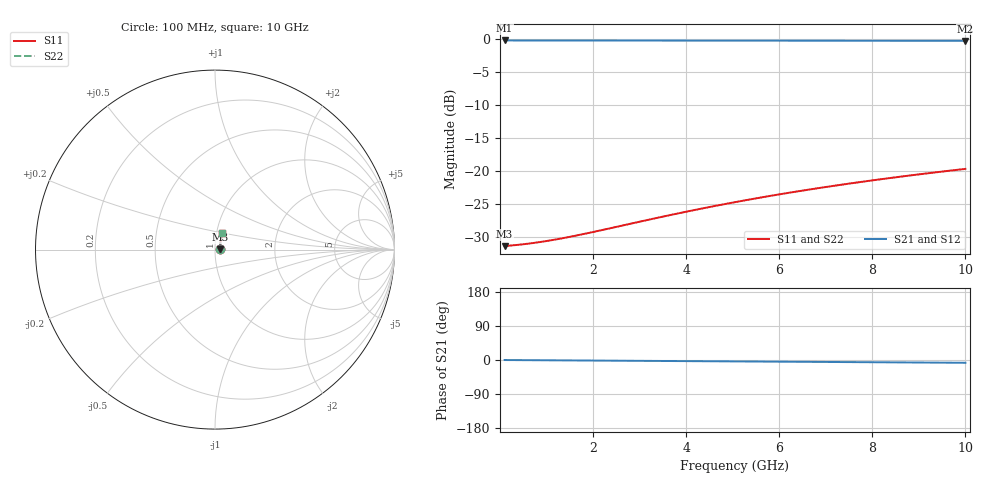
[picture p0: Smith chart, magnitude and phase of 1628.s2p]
# Hz S RI R 50.00
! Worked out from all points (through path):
!   100 points, 100 MHz to 10 GHz, reference 50 ohm
!   highest |S21| = -0.24 dB at 100 MHz (marker M1); lowest = -0.3 dB at 10 GHz (marker M2)
!   group delay of S21, straight-line fit = 2.04 ps
!   lowest |S11| = -31.5 dB at 100 MHz (marker M3), VSWR 1.05, Z = 52.7 + j0.102 ohm
!   |S11| at or under -10 dB: start of sweep to end of sweep
!   |S22| runs from -31.5 to -19.7 dB; largest |S21 - S12| = 0
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1e8  0.0267 0.000963  0.9733 -0.00125  0.9733 -0.00125  0.0267 0.000963
5e8  0.0272 0.00481  0.9728 -0.00627  0.9728 -0.00627  0.0272 0.00481
7e8  0.0274 0.00673  0.9726 -0.00877  0.9726 -0.00877  0.0274 0.00673
9e8  0.0275 0.00865  0.9725 -0.0113  0.9725 -0.0113  0.0275 0.00865
1.1e9  0.0277 0.0106  0.9723 -0.0138  0.9723 -0.0138  0.0277 0.0106
1.3e9  0.0278 0.0125  0.9722 -0.0163  0.9722 -0.0163  0.0278 0.0125
1.5e9  0.028 0.0144  0.972 -0.0188  0.972 -0.0188  0.028 0.0144
1.8e9  0.0282 0.0173  0.9718 -0.0225  0.9718 -0.0225  0.0282 0.0173
2.2e9  0.0285 0.0211  0.9715 -0.0275  0.9715 -0.0275  0.0285 0.0211
3.4e9  0.0296 0.0326  0.9704 -0.0425  0.9704 -0.0425  0.0296 0.0326
3.9e9  0.0301 0.0373  0.9698 -0.0487  0.9698 -0.0487  0.0301 0.0373
4.3e9  0.0306 0.0411  0.9693 -0.0537  0.9693 -0.0537  0.0306 0.0411
4.7e9  0.0311 0.0449  0.9688 -0.0587  0.9688 -0.0587  0.0311 0.0449
5.1e9  0.0316 0.0487  0.9683 -0.0636  0.9683 -0.0636  0.0316 0.0487
5.5e9  0.0322 0.0525  0.9677 -0.0686  0.9677 -0.0686  0.0322 0.0525
5.9e9  0.0328 0.0563  0.967 -0.0735  0.967 -0.0735  0.0328 0.0563
6.3e9  0.0334 0.0601  0.9664 -0.0785  0.9664 -0.0785  0.0334 0.0601
6.7e9  0.0341 0.0639  0.9657 -0.0834  0.9657 -0.0834  0.0341 0.0639
7.5e9  0.0356 0.0714  0.9642 -0.0933  0.9642 -0.0933  0.0356 0.0714
8.4e9  0.0374 0.0798  0.9623 -0.1043  0.9623 -0.1043  0.0374 0.0798
9.2e9  0.0392 0.0872  0.9604 -0.1141  0.9604 -0.1141  0.0392 0.0872
1e10  0.0411 0.0946  0.9584 -0.1238  0.9584 -0.1238  0.0411 0.0946
